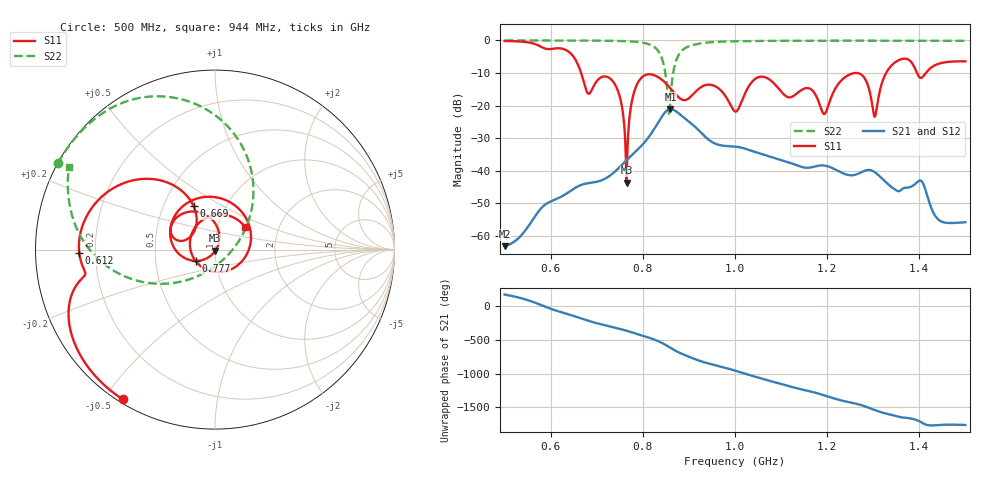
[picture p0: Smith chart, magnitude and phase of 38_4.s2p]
! TOUCHSTONE file generated by CST MICROWAVE STUDIO
! Date and time: Sat Nov 14 20:03:32 2020
! Project name: Scenario_1_Planar_Body_Tissue_Out_of_Line.cst
! Parameters = {dy1=-294.1; L_HA=400; Ltissue=700; MT=2.54; Rad_Dielectric=30; Rad_Lower=7.3; Rad_Upper=30; Wtissue=700; a_HA=580; a_WG=246; b_HA=500; b_WG=121; c_HA=0; c_WG=187; d_feed=85; dx1=693; h_feed=15; h_lower=18; h_upper=40; hfat=3; hgap=25; hmuscle=50; hskin=1.5}
! Header version: 2018
! Port assignment regex: !\s*Touchstone port\s*([0-9]+)\s*=\s*(CST MWS port|CST DS port)\s*([0-9]+|Zmin|Zmax)\s*\(\"(.*)\"\)(\s*mode\s*([0-9]+))?.*
! Touchstone port assignment:
! Touchstone port 1 = CST MWS port 1 ("")
! Touchstone port 2 = CST MWS port 2 ("")
# GHz S DB R 50
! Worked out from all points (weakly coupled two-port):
!   1003 points, 500 MHz to 1.5 GHz, reference 50 ohm
!   highest |S21| = -21.09 dB at 860 MHz (marker M1); lowest = -63.1 dB at 500 MHz (marker M2)
!   lowest |S11| = -43.7 dB at 765 MHz (marker M3), VSWR 1.01, Z = 50.2 - j0.629 ohm
!   |S11| at or under -10 dB: 666 MHz to 1.26 GHz (593.8 MHz wide, 61.7 % of centre); 1.265 GHz to 1.328 GHz (62.76 MHz wide, 4.84 % of centre); 1.395 GHz to 1.414 GHz (19.27 MHz wide, 1.37 % of centre)
!   |S22| runs from -22.8 to 0.0 dB; largest |S21 - S12| = 5e-05
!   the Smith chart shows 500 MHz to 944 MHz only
!   S11 on the Smith chart (normalised r, x): 500 MHz: 0.01, -0.56; 612 MHz: 0.14, -0.01; 669 MHz: 0.71, +0.37; 777 MHz: 0.80, -0.10; 944 MHz: 1.35, +0.35
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0.5  -0.18 -121.7  -63.14 172.3  -63.14 172.3  -0.01 151.1
0.612  -2.42 -178.7  -48.70 -66.0  -48.70 -66.0  -0.02 143.2
0.667  -10.42 116.5  -44.30 175.4  -44.30 175.4  -0.04 138.4
0.669  -11.34 116.2  -44.20 170.9  -44.20 170.9  -0.04 138.2
0.738  -13.14 111.0  -40.44 45.9  -40.44 45.9  -0.13 129.5
0.765  -43.67 -73.0  -36.71 -4.3  -36.71 -4.3  -0.24 124.2
0.777  -18.10 -149.7  -35.07 -29.2  -35.07 -29.2  -0.33 121.1
0.834  -11.32 67.2  -25.03 -159.4  -25.03 -159.4  -3.37 83.0
0.86  -14.72 -4.3  -21.09 102.4  -21.09 102.4  -17.67 -110.3
0.881  -17.84 -78.2  -22.76 26.0  -22.76 26.0  -3.75 -175.1
0.944  -13.57 36.3  -30.59 -131.0  -30.59 -131.0  -0.59 150.3
1  -21.78 -161.1  -32.56 126.3  -32.56 126.3  -0.26 140.1
1.052  -11.23 -8.8  -34.60 19.5  -34.60 19.5  -0.16 134.2
1.105  -16.43 -162.0  -36.93 -81.8  -36.93 -81.8  -0.12 129.2
1.167  -15.21 -16.5  -38.91 172.7  -38.91 172.7  -0.09 124.2
1.194  -22.58 -156.3  -38.40 117.9  -38.40 117.9  -0.09 122.1
1.269  -10.12 4.1  -40.81 -15.3  -40.81 -15.3  -0.08 116.4
1.304  -23.34 17.3  -40.49 -100.0  -40.49 -100.0  -0.09 113.8
1.334  -8.65 33.1  -44.33 -160.7  -44.33 -160.7  -0.08 111.5
1.403  -11.50 -27.4  -43.02 85.5  -42.99 85.5  -0.10 106.1
1.441  -7.20 -23.4  -54.93 39.6  -54.88 39.9  -0.11 103.0
1.5  -6.42 -47.8  -55.79 41.0  -55.79 41.0  -0.13 97.9
